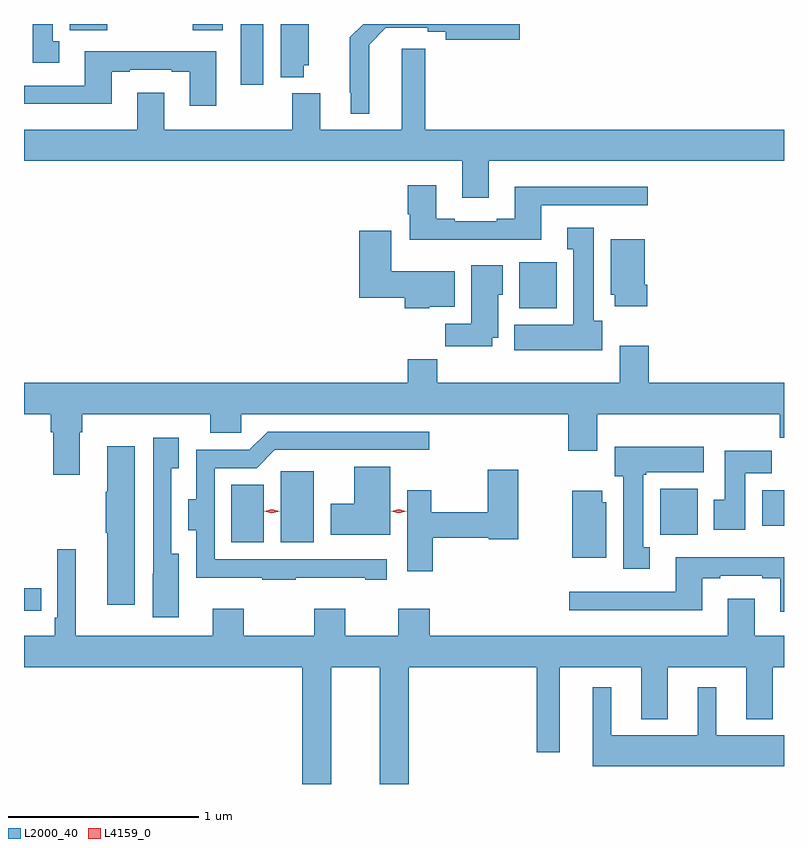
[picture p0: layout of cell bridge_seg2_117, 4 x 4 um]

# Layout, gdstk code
import gdstk
lib = gdstk.Library(unit=1e-6, precision=1e-09)
def R(c, l, rs):  # rectangles x0, y0, x1, y1
    for r in rs: c.add(gdstk.rectangle(r[:2], r[2:], *l))
def P(c, l, *ps):  # polygons
    for p in ps: c.add(gdstk.Polygon(p, *l))
L2000_40 = (2000, 40)
L4159_0 = (4159, 0)

bridge_seg2_117 = lib.new_cell('bridge_seg2_117')
R(bridge_seg2_117, L2000_40, [(457.718,658.59,457.808,658.706), (458.81,658.949,458.98,659.251), (459.068,658.949,459.244,659.322), (461.066,658.988,461.263,659.23), (461.603,659.036,461.718,659.224), (460.325,660.182,460.522,660.424), (458.858,661.356,458.977,661.677), (458.606,661.643,458.764,661.677), (457.959,661.644,458.155,661.677)])
P(bridge_seg2_117, L2000_40, [(457.903,661.585),(457.87,661.585),(457.87,661.677),(457.763,661.677),(457.763,661.473),(457.903,661.473)],
  [(459.19,661.461),(459.217,661.461),(459.217,661.677),(459.068,661.677),(459.068,661.397),(459.19,661.397)],
  [(459.535,661.568),(459.622,661.656),(459.842,661.656),(459.842,661.636),(459.938,661.636),(459.938,661.594),(460.327,661.594),(460.327,661.677),(459.504,661.677),(459.433,661.606),(459.433,661.315),(459.437,661.315),(459.437,661.205),(459.535,661.205)],
  [(460.165,660.956),(461.718,660.956),(461.718,661.12),(459.83,661.12),(459.83,661.546),(459.707,661.546),(459.707,661.12),(459.277,661.12),(459.277,661.312),(459.13,661.312),(459.13,661.12),(458.455,661.12),(458.455,661.315),(458.315,661.315),(458.315,661.12),(457.718,661.12),(457.718,660.956),(460.025,660.956),(460.025,660.762),(460.165,660.762)],
  [(458.731,661.534),(458.039,661.534),(458.039,661.353),(457.718,661.353),(457.718,661.256),(458.179,661.256),(458.179,661.425),(458.275,661.425),(458.275,661.437),(458.495,661.437),(458.495,661.425),(458.591,661.425),(458.591,661.248),(458.731,661.248)],
  [(460.441,660.723),(461.002,660.723),(461.002,660.82),(460.301,660.82),(460.301,660.652),(460.205,660.652),(460.205,660.639),(459.985,660.639),(459.985,660.652),(459.889,660.652),(459.889,660.829),(459.737,660.829),(459.737,660.676),(459.749,660.676),(459.749,660.542),(460.441,660.542)],
  [(460.762,660.114),(460.717,660.114),(460.717,660.604),(460.577,660.604),(460.577,660.491),(460.61,660.491),(460.61,660.094),(460.298,660.094),(460.298,659.96),(460.762,659.96)],
  [(459.852,660.188),(459.985,660.188),(459.985,660.376),(459.652,660.376),(459.652,660.589),(459.482,660.589),(459.482,660.236),(459.722,660.236),(459.722,660.182),(459.852,660.182)],
  [(460.997,660.304),(460.984,660.304),(460.984,660.544),(460.805,660.544),(460.805,660.252),(460.826,660.252),(460.826,660.192),(460.997,660.192)],
  [(460.183,660.026),(460.213,660.026),(460.213,660.252),(460.237,660.252),(460.237,660.406),(460.073,660.406),(460.073,660.1),(459.934,660.1),(459.934,659.982),(460.183,659.982)],
  [(458.011,659.528),(458.024,659.528),(458.024,659.624),(458.699,659.624),(458.699,659.526),(458.862,659.526),(458.862,659.624),(460.583,659.624),(460.583,659.43),(460.735,659.43),(460.735,659.624),(461.695,659.624),(461.695,659.5),(461.718,659.5),(461.718,659.788),(461.006,659.788),(461.006,659.983),(460.853,659.983),(460.853,659.788),(459.893,659.788),(459.893,659.912),(459.737,659.912),(459.737,659.788),(457.718,659.788),(457.718,659.624),(457.859,659.624),(457.859,659.528),(457.871,659.528),(457.871,659.304),(458.011,659.304)],
  [(459.149,658.763),(459.515,658.763),(459.515,658.752),(459.628,658.752),(459.628,658.86),(458.721,658.86),(458.721,659.34),(458.943,659.34),(459.039,659.436),(459.85,659.436),(459.85,659.532),(459,659.532),(458.904,659.436),(458.624,659.436),(458.624,659.176),(458.582,659.176),(458.582,659.012),(458.625,659.012),(458.625,658.763),(458.971,658.763),(458.971,658.752),(459.149,658.752)],
  [(458.533,658.888),(458.493,658.888),(458.493,659.339),(458.533,659.339),(458.533,659.5),(458.397,659.5),(458.397,658.784),(458.396,658.784),(458.396,658.554),(458.533,658.554)],
  [(458.302,659.455),(458.156,659.455),(458.156,659.216),(458.149,659.216),(458.149,658.999),(458.156,658.999),(458.156,658.62),(458.302,658.62)],
  [(461.011,658.922),(460.978,658.922),(460.978,659.305),(460.992,659.305),(460.992,659.318),(461.296,659.318),(461.296,659.452),(460.826,659.452),(460.826,659.298),(460.871,659.298),(460.871,658.809),(461.011,658.809)],
  [(461.515,659.312),(461.654,659.312),(461.654,659.431),(461.405,659.431),(461.405,659.172),(461.348,659.172),(461.348,659.016),(461.515,659.016)],
  [(459.646,659.347),(459.455,659.347),(459.455,659.152),(459.333,659.152),(459.333,658.988),(459.646,658.988)],
  [(459.87,658.972),(460.164,658.972),(460.164,658.964),(460.318,658.964),(460.318,659.332),(460.16,659.332),(460.16,659.108),(459.862,659.108),(459.862,659.224),(459.734,659.224),(459.734,658.797),(459.87,658.797)],
  [(460.783,659.16),(460.762,659.16),(460.762,659.221),(460.604,659.221),(460.604,658.868),(460.783,658.868)],
  [(459.334,658.292),(459.59,658.292),(459.59,657.677),(459.743,657.677),(459.743,658.292),(460.416,658.292),(460.416,657.843),(460.537,657.843),(460.537,658.292),(460.967,658.292),(460.967,658.019),(461.107,658.019),(461.107,658.292),(461.519,658.292),(461.519,658.019),(461.659,658.019),(461.659,658.292),(461.718,658.292),(461.718,658.456),(461.563,658.456),(461.563,658.651),(461.423,658.651),(461.423,658.456),(459.853,658.456),(459.853,658.6),(459.689,658.6),(459.689,658.456),(459.409,658.456),(459.409,658.6),(459.245,658.6),(459.245,658.456),(458.875,658.456),(458.875,658.6),(458.711,658.6),(458.711,658.456),(457.99,658.456),(457.99,658.912),(457.893,658.912),(457.893,658.552),(457.88,658.552),(457.88,658.456),(457.718,658.456),(457.718,658.292),(459.182,658.292),(459.182,657.677),(459.334,657.677)],
  [(461.718,658.87),(461.147,658.87),(461.147,658.689),(460.587,658.689),(460.587,658.592),(461.287,658.592),(461.287,658.761),(461.383,658.761),(461.383,658.773),(461.603,658.773),(461.603,658.761),(461.699,658.761),(461.699,658.584),(461.718,658.584)],
  [(461.718,657.934),(461.362,657.934),(461.362,658.186),(461.264,658.186),(461.264,657.934),(460.81,657.934),(460.81,658.186),(460.712,658.186),(460.712,657.77),(461.718,657.77)])
P(bridge_seg2_117, L4159_0, [(459.69,659.102),(459.651,659.112),(459.65,659.112),(459.651,659.112),(459.691,659.122),(459.73,659.112),(459.731,659.112),(459.73,659.112)],
  [(459.023,659.102),(458.983,659.112),(458.983,659.112),(458.983,659.112),(459.023,659.122),(459.063,659.112),(459.064,659.112),(459.063,659.112)])

lib.write_gds('bridge_seg2_117.gds')
